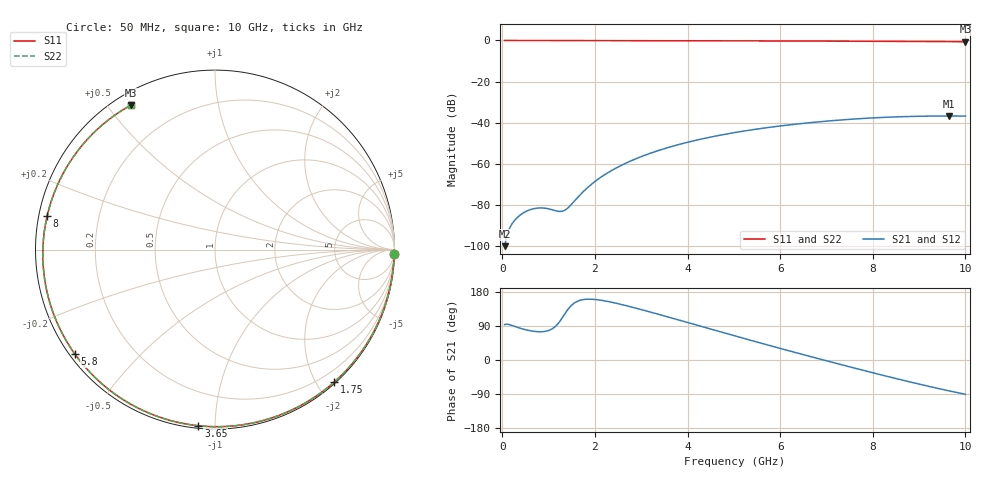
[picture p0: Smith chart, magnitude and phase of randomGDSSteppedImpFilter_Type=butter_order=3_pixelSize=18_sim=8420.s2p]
! freq	dB(S11)	phase(S11)	dB(S12)	phase(S12)
!  dB(S21)	phase(S21)	dB(S22)	phase(S22)
!S-par simulation data
#  GHz  S  DB  R 50
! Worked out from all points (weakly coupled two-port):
!   200 points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, 50 MHz to 10 GHz, reference 50 ohm
!   highest |S21| = -36.68 dB at 9.65 GHz (marker M1); lowest = -99.9 dB at 50 MHz (marker M2)
!   lowest |S11| = -0.6 dB at 10 GHz (marker M3), VSWR 28.13, Z = 2.36 + j28.7 ohm
!   |S11| at or under -10 dB: nowhere
!   |S22| runs from -0.6 to 0.0 dB; largest |S21 - S12| = 0
!   S11 on the Smith chart (normalised r, x): 50 MHz: 1, -84; 1.75 GHz: 0.02, -2.24; 3.65 GHz: 0.01, -0.91; 5.8 GHz: 0.01, -0.33; 8 GHz: 0.02, +0.10; 10 GHz: 0.05, +0.57
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0.05  -0.00 -1.4  -99.91 93.5  -99.91 93.5  -0.00 -1.4
0.4  -0.02 -11.2  -84.56 83.3  -84.56 83.3  -0.02 -11.2
0.75  -0.03 -20.9  -81.45 74.8  -81.45 74.8  -0.03 -20.9
1.45  -0.05 -40.0  -80.64 138.5  -80.64 138.5  -0.05 -40.0
1.5  -0.05 -41.4  -79.46 144.9  -79.46 144.9  -0.05 -41.4
1.75  -0.06 -48.0  -73.40 159.5  -73.40 159.5  -0.06 -48.0
2.05  -0.07 -55.9  -67.67 159.1  -67.67 159.1  -0.07 -55.9
2.45  -0.08 -66.1  -62.04 150.0  -62.04 150.0  -0.08 -66.2
2.9  -0.10 -77.4  -57.31 136.4  -57.31 136.4  -0.10 -77.4
3.4  -0.11 -89.5  -53.25 119.7  -53.25 119.7  -0.11 -89.5
3.65  -0.12 -95.4  -51.55 111.1  -51.55 111.1  -0.12 -95.4
4.3  -0.15 -110.4  -47.87 88.6  -47.87 88.6  -0.15 -110.4
5.05  -0.19 -127.1  -44.61 62.7  -44.61 62.7  -0.19 -127.1
5.8  -0.23 -143.3  -42.10 37.3  -42.10 37.3  -0.23 -143.4
6.25  -0.26 -153.0  -40.87 22.3  -40.87 22.3  -0.26 -153.0
6.7  -0.30 -162.7  -39.81 7.6  -39.81 7.6  -0.30 -162.7
7.35  -0.35 -176.8  -38.55 -13.3  -38.55 -13.3  -0.35 -176.8
8  -0.41 168.7  -37.62 -33.7  -37.62 -33.7  -0.41 168.7
8.35  -0.45 160.8  -37.25 -44.4  -37.25 -44.4  -0.45 160.7
9  -0.51 145.4  -36.81 -63.6  -36.81 -63.6  -0.51 145.4
9.65  -0.58 129.3  -36.68 -81.5  -36.68 -81.5  -0.58 129.2
10  -0.62 120.2  -36.72 -90.5  -36.72 -90.5  -0.62 120.2
